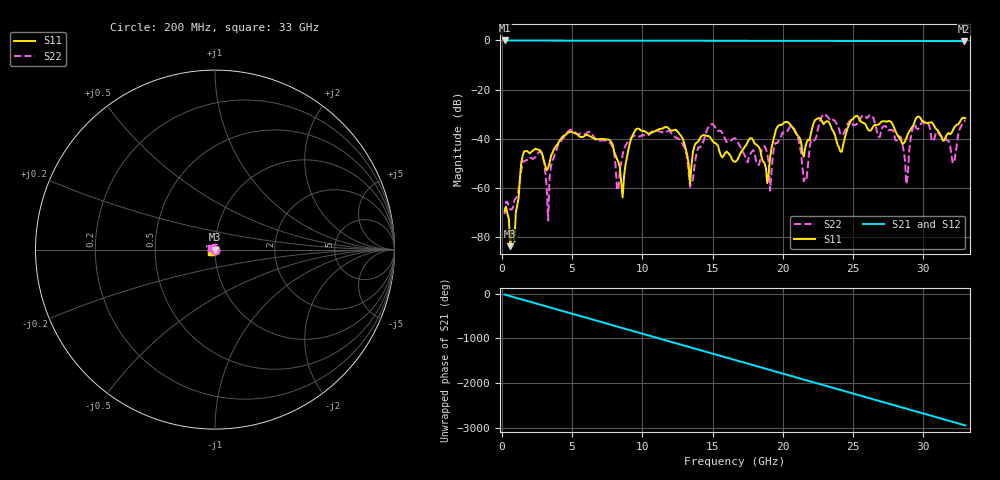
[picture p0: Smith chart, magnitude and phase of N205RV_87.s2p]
# GHZ S RI R 50
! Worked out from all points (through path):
!   329 points, 200 MHz to 33 GHz, reference 50 ohm
!   highest |S21| = -0.02 dB at 200 MHz (marker M1); lowest = -0.3 dB at 32.9 GHz (marker M2)
!   group delay of S21, straight-line fit = 248 ps
!   lowest |S11| = -83.8 dB at 600 MHz (marker M3), VSWR 1.00, Z = 50 + j0.00309 ohm
!   |S11| at or under -10 dB: start of sweep to end of sweep
!   |S22| runs from -73.4 to -29.9 dB; largest |S21 - S12| = 0.0019
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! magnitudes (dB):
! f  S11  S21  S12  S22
! 200 MHz  -69.5  0.0  0.0  -70.7
! 600 MHz  -83.8  0.0  0.0  -68.8
! 1.6 GHz  -45.2  0.0  0.0  -49.3
! 2.8 GHz  -45.2  -0.1  -0.1  -45.6
! 3.3 GHz  -51.9  -0.1  -0.1  -73.4
! 4 GHz  -42.1  -0.1  -0.1  -42.8
! 5.7 GHz  -39.4  -0.1  -0.1  -38.0
! 8.6 GHz  -63.9  -0.1  -0.1  -46.6
! 9.5 GHz  -36.6  -0.1  -0.1  -38.9
! 11.2 GHz  -36.1  -0.1  -0.1  -37.0
! 13.4 GHz  -58.5  -0.2  -0.2  -59.6
! 14.3 GHz  -38.7  -0.2  -0.2  -41.8
! 16.6 GHz  -49.5  -0.2  -0.2  -39.8
! 19.1 GHz  -47.6  -0.2  -0.2  -61.2
! 20 GHz  -34.0  -0.2  -0.2  -37.4
! 21.5 GHz  -47.3  -0.2  -0.2  -57.3
! 22.1 GHz  -35.6  -0.2  -0.2  -41.2
! 27.6 GHz  -32.8  -0.2  -0.2  -36.4
! 28.8 GHz  -39.8  -0.2  -0.2  -58.6
! 29.4 GHz  -32.9  -0.2  -0.2  -33.9
! 32.9 GHz  -31.5  -0.3  -0.3  -33.0
! 33 GHz  -31.7  -0.3  -0.3  -32.6
